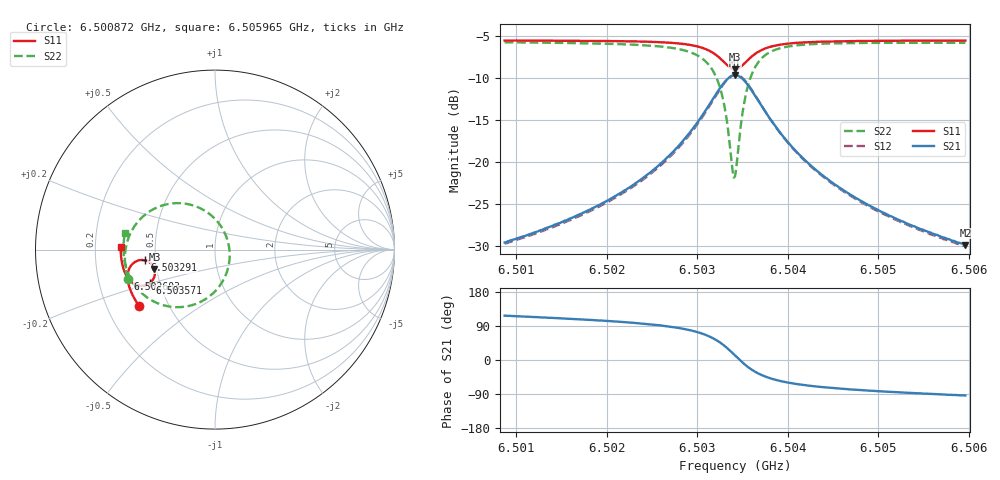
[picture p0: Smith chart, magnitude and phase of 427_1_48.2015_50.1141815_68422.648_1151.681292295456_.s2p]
#  HZ  S  RI  R  50.00
! Rohde & Schwarz Vector Network Analyzer
! Rohde-Schwarz,ZNB20-2Port,1311601062101988,3.16
! Created: UTC 3/20/2024, 11:55:10 AM
! freq[Hz]  re:S11  im:S11  re:S21  im:S21  re:S12  im:S12  re:S22  im:S22
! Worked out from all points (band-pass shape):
!   401 points, 6.500872 GHz to 6.505965 GHz, reference 50 ohm
!   highest |S21| = -9.71 dB at 6.503418 GHz (marker M1); lowest = -29.9 dB at 6.505965 GHz (marker M2)
!   |S21| within 3 dB of the highest: 6.503164 GHz to 6.503674 GHz (509.6 kHz wide, 0.00784 % of centre)
!   lowest |S11| = -9.0 dB at 6.503418 GHz (marker M3), VSWR 2.10, Z = 24.3 - j5.98 ohm
!   |S11| at or under -10 dB: nowhere
!   |S22| runs from -21.9 to -5.8 dB; largest |S21 - S12| = 0.011
!   S11 on the Smith chart (normalised r, x): 6.500872 GHz: 0.34, -0.30; 6.502603 GHz: 0.33, -0.15; 6.503291 GHz: 0.44, -0.06; 6.503571 GHz: 0.44, -0.20; 6.505965 GHz: 0.31, +0.01
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6.5008715e9  -0.4227 -0.3137  -0.015 0.0294  -0.0133 0.0296  -0.4871 -0.1619
6.5017247e9  -0.46 -0.2512  -0.0144 0.047  -0.0121 0.0466  -0.5016 -0.0724
6.5022341e9  -0.4779 -0.2062  -0.0112 0.0684  -0.00806 0.0673  -0.4985 -0.00033
6.5025779e9  -0.4861 -0.1682  -0.00281 0.0952  0.000827 0.0931  -0.4808 0.0685
6.5026034e9  -0.4865 -0.1649  -0.00174 0.098  0.00194 0.0956  -0.4782 0.0748
6.5028963e9  -0.4831 -0.1203  0.025 0.1417  0.0289 0.1371  -0.4227 0.1633
6.5030873e9  -0.4622 -0.0823  0.0783 0.1834  0.0809 0.1773  -0.3208 0.2358
6.5032019e9  -0.4302 -0.0616  0.1466 0.2011  0.1476 0.1949  -0.1978 0.2587
6.503291e9  -0.39 -0.0594  0.2255 0.1856  0.2259 0.1805  -0.0618 0.2197
6.5033292e9  -0.371 -0.0669  0.2617 0.1629  0.2626 0.1582  -0.00207 0.1736
6.5033929e9  -0.3443 -0.0932  0.3094 0.0998  0.312 0.0947  0.07 0.052
6.5034184e9  -0.3378 -0.1077  0.3198 0.0678  0.323 0.0619  0.0812 -0.00743
6.5034438e9  -0.3348 -0.1232  0.3236 0.0343  0.327 0.0275  0.0797 -0.0684
6.5035075e9  -0.3416 -0.1603  0.3058 -0.0432  0.308 -0.0532  0.0253 -0.2032
6.5035712e9  -0.3628 -0.1861  0.2635 -0.0973  0.2624 -0.1086  -0.0704 -0.286
6.5036731e9  -0.402 -0.2014  0.1893 -0.1337  0.184 -0.1431  -0.2196 -0.3207
6.5038386e9  -0.4479 -0.1918  0.108 -0.1308  0.101 -0.1359  -0.366 -0.2747
6.5040169e9  -0.4754 -0.1706  0.0638 -0.1111  0.0575 -0.1132  -0.4378 -0.2103
6.5042716e9  -0.496 -0.1406  0.0338 -0.0869  0.0291 -0.0875  -0.481 -0.1386
6.5046536e9  -0.5117 -0.101  0.015 -0.0639  0.0116 -0.0635  -0.5037 -0.064
6.5051248e9  -0.5211 -0.0576  0.005 -0.0474  0.00276 -0.0468  -0.5098 0.00178
6.5059652e9  -0.5258 0.0133  -0.00207 -0.0319  -0.00335 -0.0312  -0.5019 0.0898
